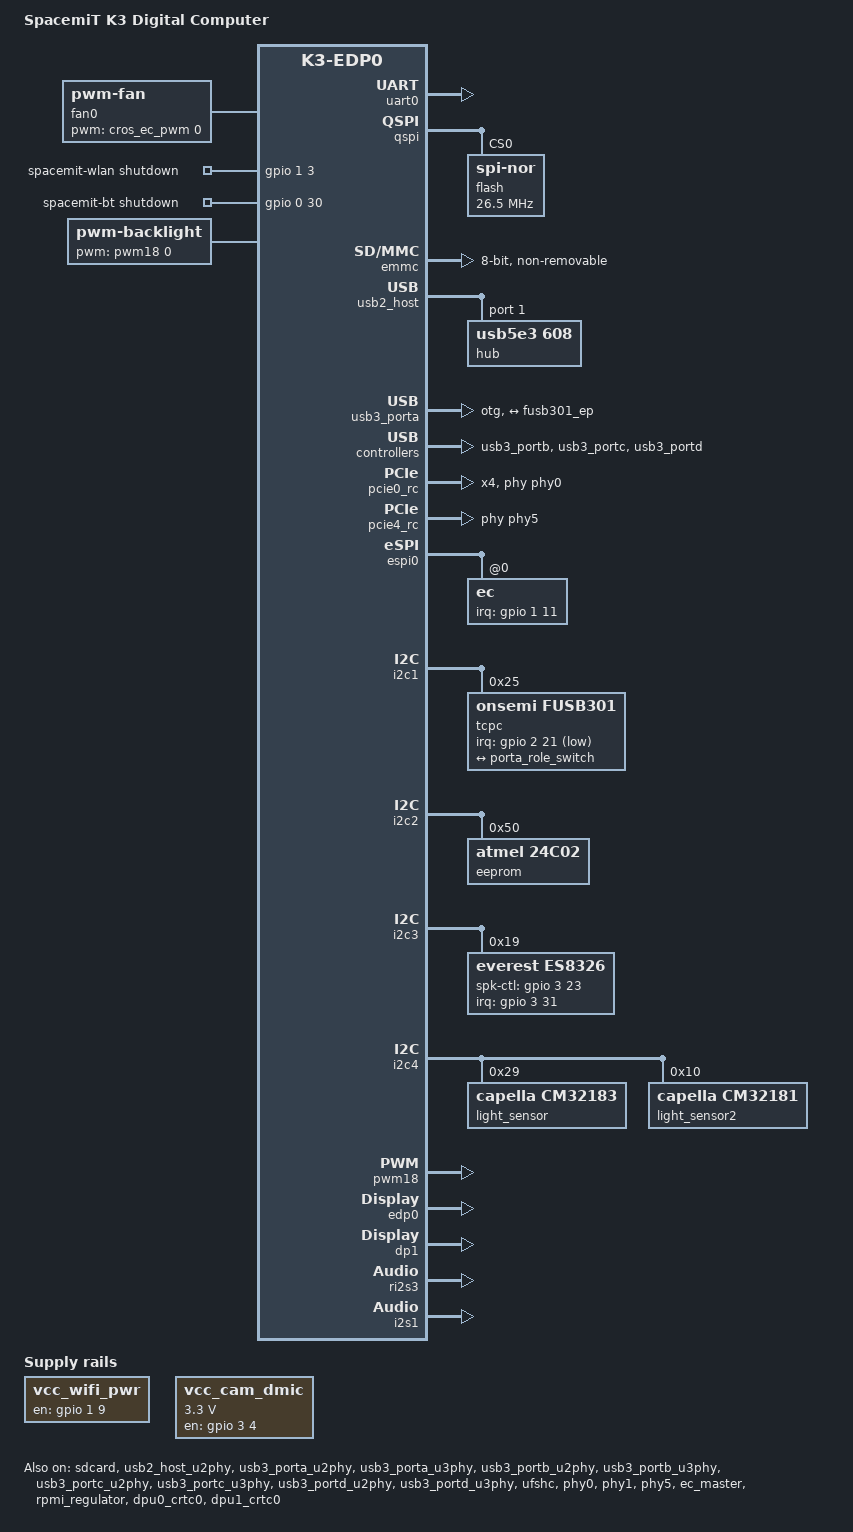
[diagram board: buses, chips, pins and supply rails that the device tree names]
// SPDX-License-Identifier: (GPL-2.0 OR MIT)
/* Copyright (c) 2025 Spacemit, Inc */

#include "k3.dtsi"
#include "k3-rdomain.dtsi"
#include "k3-pinctrl.dtsi"
#include "k3_opp_table.dtsi"
#include "k3-edp0.dtsi"
#include "k3-dp1.dtsi"
#include <dt-bindings/input/input.h>
#include <dt-bindings/input/cros-ec-keyboard.h>

/ {
	model = "SpacemiT K3 Digital Computer";
	compatible = "spacemit,k3-dc-board";
	cpus: cpus {
		#address-cells = <1>;
		#size-cells = <0>;
		timebase-frequency = <24000000>;
	};
/*
	p12v: p12v {
		compatible = "regulator-fixed";
		regulator-name = "p12v";
		regulator-always-on;
		regulator-boot-on;
		regulator-min-microvolt = <12000000>;
		regulator-max-microvolt = <12000000>;
		status = "disabled";
	};

	aux_5v: aux_5v {
		compatible = "regulator-fixed";
		regulator-name = "aux_5v";
		regulator-always-on;
		regulator-boot-on;
		regulator-min-microvolt = <5000000>;
		regulator-max-microvolt = <5000000>;
		vin-supply = <&p12v>;
		status = "disabled";
	};

	aux_3v3: aux_3v3 {
		compatible = "regulator-fixed";
		regulator-name = "aux_3v3";
		regulator-always-on;
		regulator-boot-on;
		regulator-min-microvolt = <3300000>;
		regulator-max-microvolt = <3300000>;
		vin-supply = <&aux_5v>;
		status = "disabled";
	};

	p1v8: p1v8 {
		compatible = "regulator-fixed";
		regulator-name = "p1v8";
		regulator-always-on;
		regulator-boot-on;
		regulator-min-microvolt = <1800000>;
		regulator-max-microvolt = <1800000>;
		vin-supply = <&p12v>;
		status = "disabled";
	};

	p3v3: p3v3 {
		compatible = "regulator-fixed";
		regulator-name = "p3v3";
		regulator-always-on;
		regulator-boot-on;
		regulator-min-microvolt = <3300000>;
		regulator-max-microvolt = <3300000>;
		vin-supply = <&p12v>;
		status = "disabled";
	};
*/
	chosen {
                bootargs = "earlycon=sbi console=ttyS0,115200 loglevel=8 random.trust_bootloader=1";
                rng-seed = <0x25d69b2 0xff555073 0xd23238ea 0x57aa5455 0x792478ed 0xa744f28e 0x6ba4fc54 0xa2bf20fc>;
		stdout-path = "serial0:115200";
	};

	fan0: pwm-fan {
		compatible = "pwm-fan";
		pwms = <&cros_ec_pwm 0>;
		/*
		* Cooling states (0-8) -> PWM duty (0-255)
		* Full speed is treated as ~6000RPM.
		* Custom ramp to balance noise and thermals
		*/
		/* Keep headroom by capping max duty below 255. */
		cooling-levels = <0 30 60 90 120 140 179 204 242>;
		#cooling-cells = <2>;
	};

	vcc_wifi_pwr: vcc-wifi-pwr {
		compatible = "regulator-fixed";
		regulator-name = "vcc_wifi_3v3";
		gpio = <&gpio 1 9 GPIO_ACTIVE_HIGH>;
		enable-active-high;
		regulator-always-on;
		regulator-boot-on;
		pinctrl-names = "default";
		pinctrl-0 = <&rfkill_gpio_cfg>;
	};

	rfkill_wlan: rfkill-wlan {
		compatible = "rfkill-gpio";
		label = "spacemit-wlan";
		radio-type = "wlan";
		shutdown-gpio = <&gpio 1 3 GPIO_ACTIVE_HIGH>;
		dev-pwr-supply = <&vcc_wifi_pwr>;
		status = "okay";
	};

	rfkill_bt: rfkill-bt {
		compatible = "rfkill-gpio";
		label = "spacemit-bt";
		radio-type = "bluetooth";
		shutdown-gpio = <&gpio 0 30 GPIO_ACTIVE_HIGH>;
		status = "okay";
	};

	vcc_cam_dmic: vcc-cam-dmic {
		compatible = "regulator-fixed";
		regulator-name = "vcc_cam_dmic";
		gpio = <&gpio 3 4 GPIO_ACTIVE_HIGH>;
		enable-active-high;

		regulator-always-on;
		regulator-boot-on;

		regulator-min-microvolt = <3300000>;
		regulator-max-microvolt = <3300000>;

		pinctrl-names = "default";
		pinctrl-0 = <&cam_dmic_cfg>;
	};

	backlight: backlight {
		compatible = "pwm-backlight";
		pwms = <&pwm18 0 20000 0>;
		brightness-levels = <
			0   20  20  20  21  21  21  22
			22  22  23  23  23  24  24  24
			25  25  25  26  26  26  27  27
			28  28  29  29  30  30  31  31
			32  33  34  35  36  37  38  39
			40  41  42  43  44  45  46  47
			48  49  50  51  52  53  54  55
			56  57  58  59  60  61  62  63
			64  65  66  67  68  69  70  71
			72  73  74  75  76  77  78  79
			80  81  82  83  84  85  86  87
			88  89  90  91  92  93  94  95
			96  97  98  99 100 101 102 103
			104 105 106 107 108 109 110 111
			112 113 114 115 116 117 118 119
			120 121 122 123 124 125 126 127
			128 129 130 131 132 133 134 135
			136 137 138 139 140 141 142 143
			144 145 146 147 148 149 150 151
			152 153 154 155 156 157 158 159
			160 161 162 163 164 165 166 167
			168 169 170 171 172 173 174 175
			176 177 178 179 180 181 182 183
			184 185 186 187 188 189 190 191
			192 193 194 195 196 197 198 199
			200 201 202 203 204 205 206 207
			208 209 210 211 212 213 214 215
			216 217 218 219 220 221 222 223
			224 225 226 227 228 229 230 231
			232 233 234 235 236 237 238 239
			240 241 242 243 244 245 246 247
			248 249 250 251 252 253 254 255>;
		default-brightness-level = <128>;
		status = "okay";
	};

};

&resmem {
	/* global autoconfigured region for contiguous allocations */
	cmamem: linux,cma {
		compatible = "shared-dma-pool";
		reusable;
		size = <0 0x20000000>;
		alloc-ranges = <1 0x40000000 0 0x20000000>;
		linux,cma-default;
	};

	pcie_dma_pool: pcie-dma-pool@1f0000000 {
		compatible = "restricted-dma-pool";
		reg = <0x1 0xf0000000 0x0 0x02000000>;
	};
};

&pinctrl {
	i2c2-1-cfg {
		i2c2-0-pins {
			power-source = <1800>;
		};
	};

	i2c1-3-cfg {
		i2c1-0-pins {
			power-source = <3300>;
		};
	};

	i2c3-1-cfg {
		i2c3-0-pins {
			power-source = <3300>;
		};
	};

	usb30_drd_dir-0-cfg {
		usb30_drd_dir-pins {
			power-source = <1800>;
		};
	};

	fusb301_cfg: fusb301-cfg {
		fusb301-0-pins {
			pinmux = <K3_PADCONF(85, 0)>;

			bias-pull-up;
			drive-strength = <25>;
			power-source = <1800>;
		};
	};

	qspi-cfg {
		/delete-node/ qspi-1-pins;
		qspi-0-pins {
			power-source = <1800>;
		};
	};

	pcie0-1-cfg {
		pcie0-0-pins {
			pinmux = <K3_PADCONF(79, 5)>,
				 <K3_PADCONF(81, 5)>;

			bias-pull-up;
			drive-strength = <33>;
			power-source = <1800>;
		};
	};

	pcie4-1-cfg {
		pcie4-0-pins {
			bias-pull-up;
			drive-strength = <33>;
			power-source = <1800>;
		};
	};

	sspa1_1_cfg: sspa1-1-cfg {
		sspa1-0-pins {
			power-source = <3300>;
		};
	};

	rfkill_gpio_cfg: rfkill-gpio-cfg {
		rfkill-pins {
			pinmux = <K3_PADCONF(30, 0)>,	/* BT_EN: gpio30 */
				 <K3_PADCONF(35, 0)>,	/* WLAN_W_DISABLE1: gpio35 */
				 <K3_PADCONF(41, 0)>;	/* WLAN_PWREN: gpio41 */
			bias-pull-up;
			drive-strength = <33>;
			power-source = <3300>;
		};
	};

	cam_dmic_cfg: cam-dmic-cfg {
		cam-dmic-pins {
			pinmux = <K3_PADCONF(100, 0)>;	/* gpio[5]_100 */
			bias-pull-up;
			drive-strength = <33>;
			power-source = <3300>;
		};
	};

	dp0_1_cfg: dp0-1-cfg {
		dp0-0-pins {
			pinmux = <K3_PADCONF(23, 6)>;	/* dp0 hpd */

			bias-disable;			/* normal bias disable */
			drive-strength = <25>;		/* DS8 */
			power-source = <3300>;
		};
	};

	dp1_1_cfg: dp1-1-cfg {
		dp1-0-pins {
			pinmux = <K3_PADCONF(24, 6)>;	/* dp1 hpd */

			bias-disable;			/* normal bias disable */
			drive-strength = <25>;		/* DS8 */
			power-source = <3300>;
		};
	};

	pwm18_2_cfg: pwm18-2-cfg {
		pwm18-0-pins {
			pinmux = <K3_PADCONF(106, 6)>;	/* pwm18 */

			bias-pull-up;			/* normal pull-up */
			drive-strength = <25>;		/* DS8 */
			power-source = <3300>;
		};
	};

};

&uart0 {
	pinctrl-names = "default";
	pinctrl-0 = <&uart0_0_cfg>;
	status = "okay";
};

&qspi {
	pinctrl-names = "default";
	pinctrl-0 = <&qspi_cfg>;
	status = "okay";

	flash@0 {
		compatible = "jedec,spi-nor";
		reg = <0>;
		spi-max-frequency = <26500000>;
		m25p,fast-read;
		broken-flash-reset;
		status = "okay";
	};
};

&sdcard {
	pinctrl-names = "default","uhs","debug";
	pinctrl-0 = <&mmc1_cfg>;
	pinctrl-1 = <&mmc1_uhs_cfg>;
	pinctrl-2 = <&mmc1_debug_cfg>;
	bus-width = <4>;
	wp-inverted;
	cd-gpios = <&gpio 2 24 GPIO_ACTIVE_LOW>;
	vmmc-supply = <&p3v3>;
	vqmmc-supply = <&aldo1>;
	no-mmc;
	no-sdio;
	clock-frequency = <204800000>;
	spacemit,tx_delaycode = <0x1f>;
	status = "okay";
};

&emmc {
	bus-width = <8>;
	non-removable;
	mmc-hs400-1_8v;
	mmc-hs400-enhanced-strobe;
	no-sd;
	no-sdio;
	clock-frequency = <375000000>;
	status = "okay";
};

&usb2_host_u2phy {
	status = "okay";
};

&usb2_host {
	#address-cells = <1>;
	#size-cells = <0>;
	status = "okay";

	/* For BT, FG, CAM */
	hub@1 {
		/* FE1.1S USB2.0 hub (4 ports) */
		compatible = "usb5e3,608";
		reg = <1>;
	};
};

&usb3_porta_u2phy {
	status = "okay";
};

&usb3_porta_u3phy {
	/* dual phy selection is auto detect from GPIO86(SS_SW_3V3) */
	pinctrl-names = "default";
	pinctrl-0 = <&usb30_drd_dir_0_cfg>;
	status = "okay";
};

&usb3_porta {
	dr_mode = "otg";
	usb-role-switch;
	role-switch-default-mode = "peripheral";
	monitor-vbus;
	status = "okay";

	ports {
		#address-cells = <1>;
		#size-cells = <0>;
		port@0 {
			reg = <0x0>;
			porta_role_switch: endpoint {
				remote-endpoint = <&fusb301_ep>;
			};
		};
	};
};

&usb3_portb_u2phy {
	status = "okay";
};

&usb3_portb_u3phy {
	status = "okay";
};

&usb3_portb {
	/* TypeC */
	status = "okay";
};

&usb3_portc_u2phy {
	status = "okay";
};

&usb3_portc_u3phy {
	status = "okay";
};

&usb3_portc {
	/* TypeC */
	status = "okay";
};

&usb3_portd_u2phy {
	status = "okay";
};

&usb3_portd_u3phy {
	status = "okay";
};

&usb3_portd {
	/* TypeC */
	status = "okay";
};

&ufshc {
	status = "okay";
};

&phy0 {
	status = "okay";
};

&phy1 {
	status = "okay";
};

&phy2 {
	status = "disabled";
};

&phy3 {
	status = "disabled";
};

&phy5 {
	status = "okay";
};

&pcie0_rc {
	pinctrl-names = "default";
	pinctrl-0 = <&pcie0_1_cfg>;
	phys = <&phy0>, <&phy1>;
	phy-names = "phy0", "phy1";
	num-lanes = <4>;
	status = "okay";
};

&pcie4_rc {
	pinctrl-names = "default";
	pinctrl-0 = <&pcie4_1_cfg>;
	phys = <&phy5>;
	phy-names = "phy0";
	dma-ranges = <0x02000000 0x0 0x80000000 0x1 0xf0000000 0x0 0x02000000>;
	memory-region = <&pcie_dma_pool>;
	status = "okay";
};

&espi0 {
	pinctrl-names = "default";
	pinctrl-0 = <&espi0_2_cfg>;
	status = "okay";
	ec@0 {
		status = "okay";
		interrupt-parent = <&gpio>;
		interrupts = <1 11 IRQ_TYPE_EDGE_RISING>;

		i2c_tunnel1: i2c-tunnel@1 {
			compatible = "google,cros-ec-i2c-tunnel";
			#address-cells = <1>;
			#size-cells = <0>;
			google,remote-bus = <1>;
		};

		i2c_tunnel4: i2c-tunnel@4 {
			compatible = "google,cros-ec-i2c-tunnel";
			#address-cells = <1>;
			#size-cells = <0>;
			google,remote-bus = <4>;

			battery: battery@b {
				compatible = "sbs,sbs-battery";
				reg = <0x0b>;
				sbs,i2c-retry-count = <2>;
				sbs,poll-retry-count = <10>;
				status = "okay";
			};
		};

		/* EC PWM provider for fan control */
		cros_ec_pwm: pwm {
			compatible = "google,cros-ec-pwm";
			#pwm-cells = <1>;
		};

		keyboard {
			compatible = "google,cros-ec-keyb";
			keypad,num-rows = <8>;
			keypad,num-columns = <16>;
			linux,keymap = <
			/* Row 0 */
			MATRIX_KEY(0x00, 0x00, KEY_C)           /* ID: 48 */
			MATRIX_KEY(0x00, 0x01, KEY_DELETE)      /* ID: 76 */
			MATRIX_KEY(0x00, 0x02, KEY_Q)           /* ID: 17 */
			MATRIX_KEY(0x00, 0x03, KEY_RIGHTALT)    /* ID: 62 */
			MATRIX_KEY(0x00, 0x05, KEY_X)           /* ID: 47 */
			MATRIX_KEY(0x00, 0x06, KEY_V)           /* ID: 49 */
			MATRIX_KEY(0x00, 0x07, KEY_M)           /* ID: 52 */
			MATRIX_KEY(0x00, 0x08, KEY_DOT)         /* ID: 54 */
			MATRIX_KEY(0x00, 0x09, KEY_RIGHTSHIFT)  /* ID: 57 */
			MATRIX_KEY(0x00, 0x0a, KEY_COMMA)       /* ID: 53 */
			MATRIX_KEY(0x00, 0x0c, KEY_RIGHTCTRL)   /* ID: 64 */
			MATRIX_KEY(0x00, 0x0d, KEY_SLASH)       /* ID: 55 */
			MATRIX_KEY(0x00, 0x0e, KEY_APOSTROPHE)  /* ID: 41 (' ) */

			/* Row 1 */
			MATRIX_KEY(0x01, 0x03, KEY_LEFTALT)     /* ID: 60 */
			MATRIX_KEY(0x01, 0x04, KEY_SPACE)       /* ID: 61 */
			MATRIX_KEY(0x01, 0x05, KEY_Z)           /* ID: 46 */
			MATRIX_KEY(0x01, 0x06, KEY_B)           /* ID: 50 */
			MATRIX_KEY(0x01, 0x07, KEY_N)           /* ID: 51 */
			MATRIX_KEY(0x01, 0x08, KEY_DOWN)        /* ID: 84-1 */
			MATRIX_KEY(0x01, 0x09, KEY_LEFTSHIFT)   /* ID: 44 */
			MATRIX_KEY(0x01, 0x0c, KEY_LEFTCTRL)    /* ID: 58 */
			MATRIX_KEY(0x01, 0x0d, KEY_UP)          /* ID: 83-1 */
			MATRIX_KEY(0x01, 0x0e, KEY_ENTER)       /* ID: 43 */
			MATRIX_KEY(0x01, 0x0f, KEY_F8)          /* ID: 119 */

			/* Row 2 */
			MATRIX_KEY(0x02, 0x02, KEY_FN)          /* ID: 59 */
			MATRIX_KEY(0x02, 0x04, KEY_E)           /* ID: 19 */
			MATRIX_KEY(0x02, 0x05, KEY_F2)          /* ID: 113 */
			MATRIX_KEY(0x02, 0x06, KEY_G)           /* ID: 35 */
			MATRIX_KEY(0x02, 0x07, KEY_H)           /* ID: 36 */
			MATRIX_KEY(0x02, 0x08, KEY_BACKSLASH)   /* ID: 29/42 */
			MATRIX_KEY(0x02, 0x0a, KEY_F7)          /* ID: 118 */
			MATRIX_KEY(0x02, 0x0d, KEY_MINUS)       /* ID: 12 */
			MATRIX_KEY(0x02, 0x0f, KEY_RIGHT)       /* ID: 89-1 */

			/* Row 3 */
			MATRIX_KEY(0x03, 0x01, KEY_LEFTMETA)    /* ID: 127 (Win) */
			MATRIX_KEY(0x03, 0x02, KEY_TAB)         /* ID: 16 */
			MATRIX_KEY(0x03, 0x04, KEY_F4)          /* ID: 115 */
			MATRIX_KEY(0x03, 0x05, KEY_F1)          /* ID: 112 */
			MATRIX_KEY(0x03, 0x06, KEY_T)           /* ID: 21 */
			MATRIX_KEY(0x03, 0x07, KEY_Y)           /* ID: 22 */
			MATRIX_KEY(0x03, 0x08, KEY_O)           /* ID: 25 */
			MATRIX_KEY(0x03, 0x0a, KEY_F6)          /* ID: 117 */
			MATRIX_KEY(0x03, 0x0b, KEY_F9)          /* ID: 120 */
			MATRIX_KEY(0x03, 0x0d, KEY_F12)         /* ID: 123 */

			/* Row 4 */
			MATRIX_KEY(0x04, 0x02, KEY_GRAVE)       /* ID: 1 (~) */
			MATRIX_KEY(0x04, 0x04, KEY_CAPSLOCK)    /* ID: 30 */
			MATRIX_KEY(0x04, 0x05, KEY_S)           /* ID: 32 */
			MATRIX_KEY(0x04, 0x06, KEY_5)           /* ID: 6 */
			MATRIX_KEY(0x04, 0x07, KEY_6)           /* ID: 7 */
			MATRIX_KEY(0x04, 0x08, KEY_F10)         /* ID: 121 */
			MATRIX_KEY(0x04, 0x0a, KEY_F5)          /* ID: 116 */
			MATRIX_KEY(0x04, 0x0d, KEY_0)           /* ID: 11 */
			MATRIX_KEY(0x04, 0x0e, KEY_EQUAL)       /* ID: 13 */

			/* Row 5 */
			MATRIX_KEY(0x05, 0x02, KEY_1)           /* ID: 2 */
			MATRIX_KEY(0x05, 0x04, KEY_3)           /* ID: 4 */
			MATRIX_KEY(0x05, 0x05, KEY_2)           /* ID: 3 */
			MATRIX_KEY(0x05, 0x06, KEY_4)           /* ID: 5 */
			MATRIX_KEY(0x05, 0x07, KEY_7)           /* ID: 8 */
			MATRIX_KEY(0x05, 0x08, KEY_9)           /* ID: 10 */
			MATRIX_KEY(0x05, 0x0a, KEY_8)           /* ID: 9 */
			MATRIX_KEY(0x05, 0x0d, KEY_P)           /* ID: 26 */
			MATRIX_KEY(0x05, 0x0e, KEY_BACKSPACE)   /* ID: 15 */

			/* Row 6 */
			MATRIX_KEY(0x06, 0x04, KEY_F3)          /* ID: 114 */
			MATRIX_KEY(0x06, 0x05, KEY_W)           /* ID: 18 */
			MATRIX_KEY(0x06, 0x06, KEY_R)           /* ID: 20 */
			MATRIX_KEY(0x06, 0x07, KEY_U)           /* ID: 23 */
			MATRIX_KEY(0x06, 0x08, KEY_F11)         /* ID: 122 */
			MATRIX_KEY(0x06, 0x0a, KEY_I)           /* ID: 24 */
			MATRIX_KEY(0x06, 0x0b, KEY_LEFT)        /* ID: 79-1 */
			MATRIX_KEY(0x06, 0x0d, KEY_LEFTBRACE)   /* ID: 27 ([) */
			MATRIX_KEY(0x06, 0x0e, KEY_RIGHTBRACE)  /* ID: 28 (]) */

			/* Row 7 */
			MATRIX_KEY(0x07, 0x02, KEY_A)           /* ID: 31 */
			MATRIX_KEY(0x07, 0x05, KEY_ESC)         /* ID: 110 */
			MATRIX_KEY(0x07, 0x06, KEY_F)           /* ID: 34 */
			MATRIX_KEY(0x07, 0x07, KEY_J)           /* ID: 37 */
			MATRIX_KEY(0x07, 0x08, KEY_L)           /* ID: 39 */
			MATRIX_KEY(0x07, 0x0a, KEY_K)           /* ID: 38 */
			MATRIX_KEY(0x07, 0x0d, KEY_SEMICOLON)   /* ID: 40 */
			MATRIX_KEY(0x07, 0x0e, KEY_D)           /* ID: 33 */

			/*
			 * Fn layer (row + 8):
			 *  F1..F12 -> media/system keys when Fn is held.
			 */
			MATRIX_KEY(0x09, 0x0f, KEY_KBDILLUMUP)    /* Fn+F8  */
			MATRIX_KEY(0x0a, 0x05, KEY_VOLUMEDOWN)    /* Fn+F2  */
			MATRIX_KEY(0x0a, 0x0a, KEY_KBDILLUMDOWN)  /* Fn+F7  */
			MATRIX_KEY(0x0b, 0x04, KEY_PREVIOUSSONG)  /* Fn+F4  */
			MATRIX_KEY(0x0b, 0x05, KEY_MUTE)          /* Fn+F1  */
			MATRIX_KEY(0x0b, 0x0a, KEY_PLAYPAUSE)     /* Fn+F6  */
			MATRIX_KEY(0x0b, 0x0b, KEY_DISPLAYTOGGLE) /* Fn+F9  */
			MATRIX_KEY(0x0b, 0x0d, KEY_MICMUTE)       /* Fn+F12 */
			MATRIX_KEY(0x0c, 0x08, KEY_RFKILL)        /* Fn+F10 */
			MATRIX_KEY(0x0c, 0x0a, KEY_NEXTSONG)      /* Fn+F5  */
			MATRIX_KEY(0x0e, 0x04, KEY_VOLUMEUP)      /* Fn+F3  */
			MATRIX_KEY(0x0e, 0x08, KEY_SYSRQ)         /* Fn+F11 */
			>;
		};
	};
};

&ec_master {
	status = "okay";
};

&thermal_zones {
	thermal_top {
		polling-delay = <1000>;
		polling-delay-passive = <500>;
		thermal-sensors = <&thermal 0>;

		trips {
			thermal_top_trip0: thermal_top-trip0 {
				temperature = <45000>;
				hysteresis = <2000>;
				type = "active";
			};
		};
	};

	thermal_vpu {
		polling-delay = <1000>;
		polling-delay-passive = <500>;
		thermal-sensors = <&thermal 2>;

		trips {
			thermal_vpu_trip0: thermal_vpu-trip0 {
				temperature = <60000>;
				hysteresis = <2000>;
				type = "active";
			};
		};
	};

	thermal_gpu {
		polling-delay = <1000>;
		polling-delay-passive = <500>;
		thermal-sensors = <&thermal 3>;

		trips {
			thermal_gpu_trip0: thermal_gpu-trip0 {
				temperature = <60000>;
				hysteresis = <2000>;
				type = "active";
			};
		};
	};

	thermal_cluster0 {
		polling-delay = <1000>;
		polling-delay-passive = <500>;
		thermal-sensors = <&thermal 4>;

		trips {
			thermal_cluster0_trip0: thermal_cluster0-trip0 {
				temperature = <45000>;
				hysteresis = <2000>;
				type = "active";
			};

			thermal_cluster0_trip1: thermal_cluster0-trip1 {
				temperature = <55000>;
				hysteresis = <2000>;
				type = "passive";
			};

			thermal_cluster0_trip2: thermal_cluster0-trip2 {
				temperature = <65000>;
				hysteresis = <2000>;
				type = "passive";
			};

			thermal_cluster0_trip3: thermal_cluster0-trip3 {
				temperature = <75000>;
				hysteresis = <2000>;
				type = "passive";
			};

			thermal_cluster0_trip4: thermal_cluster0-trip4 {
				temperature = <85000>;
				hysteresis = <2000>;
				type = "passive";
			};

			thermal_cluster0_trip5: thermal_cluster0-trip5 {
				temperature = <90000>;
				hysteresis = <2000>;
				type = "passive";
			};

			thermal_cluster0_trip6: thermal_cluster0-trip6 {
				temperature = <95000>;
				hysteresis = <2000>;
				type = "passive";
			};
		};

		cooling-maps {
			map0 {
				trip = <&thermal_cluster0_trip0>;
				cooling-device = <&fan0 0 1>;
			};

			map1 {
				trip = <&thermal_cluster0_trip1>;
				cooling-device = <&fan0 2 3>;
			};

			map2 {
				trip = <&thermal_cluster0_trip2>;
				cooling-device = <&fan0 3 4>;
			};

			map3 {
				trip = <&thermal_cluster0_trip3>;
				cooling-device = <&fan0 4 5>;
			};

			map4 {
				trip = <&thermal_cluster0_trip4>;
				cooling-device = <&fan0 6 6>;
			};

			map5 {
				trip = <&thermal_cluster0_trip5>;
				cooling-device = <&fan0 7 7>;
			};

			map6 {
				trip = <&thermal_cluster0_trip6>;
				cooling-device = <&fan0 8 8>;
			};
		};
	};

	thermal_cluster1 {
		polling-delay = <1000>;
		polling-delay-passive = <250>;
		thermal-sensors = <&thermal 5>;

		trips {
			thermal_cluster1_trip0: thermal_cluster1-trip0 {
				temperature = <85000>;
				hysteresis = <2000>;
				type = "active";
			};

			thermal_cluster1_trip1: thermal_cluster1-trip1 {
				temperature = <95000>;
				hysteresis = <2000>;
				type = "passive";
			};

			thermal_cluster1_trip2: thermal_cluster1-trip2 {
				temperature = <105000>;
				hysteresis = <2000>;
				type = "passive";
			};

			thermal_cluster1_trip3: thermal_cluster1-trip3 {
				temperature = <115000>;
				hysteresis = <2000>;
				type = "critical";
			};
		};

		cooling-maps {
			map0 {
				trip = <&thermal_cluster1_trip0>;
				cooling-device = <&cpu_0 2 2>,
						<&cpu_1 2 2>,
						<&cpu_2 2 2>,
						<&cpu_3 2 2>,
						<&cpu_4 2 2>,
						<&cpu_5 2 2>,
						<&cpu_6 2 2>,
						<&cpu_7 2 2>;
			};

			map1 {
				trip = <&thermal_cluster1_trip1>;
				cooling-device = <&cpu_0 3 5>,
						<&cpu_1 3 5>,
						<&cpu_2 3 5>,
						<&cpu_3 3 5>,
						<&cpu_4 3 5>,
						<&cpu_5 3 5>,
						<&cpu_6 3 5>,
						<&cpu_7 3 5>;
			};

			map2 {
				trip = <&thermal_cluster1_trip2>;
				cooling-device = <&cpu_0 6 8>,
						<&cpu_1 6 8>,
						<&cpu_2 6 8>,
						<&cpu_3 6 8>,
						<&cpu_4 6 8>,
						<&cpu_5 6 8>,
						<&cpu_6 6 8>,
						<&cpu_7 6 8>;
			};
		};
	};

	thermal_cluster2 {
		polling-delay = <1000>;
		polling-delay-passive = <250>;
		thermal-sensors = <&thermal 6>;

		trips {
			thermal_cluster2_trip0: thermal_cluster2-trip0 {
				temperature = <85000>;
				hysteresis = <2000>;
				type = "active";
			};

			thermal_cluster2_trip1: thermal_cluster2-trip1 {
				temperature = <95000>;
				hysteresis = <2000>;
				type = "passive";
			};

			thermal_cluster2_trip2: thermal_cluster2-trip2 {
				temperature = <105000>;
				hysteresis = <2000>;
				type = "passive";
			};

			thermal_cluster2_trip3: thermal_cluster2-trip3 {
				temperature = <115000>;
				hysteresis = <2000>;
				type = "critical";
			};
		};

		cooling-maps {
			map0 {
				trip = <&thermal_cluster2_trip0>;
				cooling-device = <&cpu_8 3 3>,
						<&cpu_9 3 3>,
						<&cpu_10 3 3>,
						<&cpu_11 3 3>,
						<&cpu_12 3 3>,
						<&cpu_13 3 3>,
						<&cpu_14 3 3>,
						<&cpu_15 3 3>;
			};

			map1 {
				trip = <&thermal_cluster2_trip1>;
				cooling-device = <&cpu_8 4 5>,
						<&cpu_9 4 5>,
						<&cpu_10 4 5>,
						<&cpu_11 4 5>,
						<&cpu_12 4 5>,
						<&cpu_13 4 5>,
						<&cpu_14 4 5>,
						<&cpu_15 4 5>;
			};

			map2 {
				trip = <&thermal_cluster2_trip2>;
				cooling-device = <&cpu_8 6 8>,
						<&cpu_9 6 8>,
						<&cpu_10 6 8>,
						<&cpu_11 6 8>,
						<&cpu_12 6 8>,
						<&cpu_13 6 8>,
						<&cpu_14 6 8>,
						<&cpu_15 6 8>;
			};
		};
	};

	thermal_cluster3 {
		polling-delay = <1000>;
		polling-delay-passive = <250>;
		thermal-sensors = <&thermal 7>;

		trips {
			thermal_cluster7_trip0: thermal_cluster7-trip0 {
				temperature = <40000>;
				hysteresis = <5000>;
				type = "passive";
			};
		};
	};
};

&rpmi_regulator {
	status = "okay";
	pinctrl-names = "default";
	pinctrl-0 = <&i2c8_cfg_rcpu>;

	pvin: pvin {
		regulator-min-microvolt = <5000000>;
		regulator-max-microvolt = <5000000>;
		regulator-always-on;
		regulator-boot-on;
	};

	edcdc2: edcdc2 {
		regulator-min-microvolt = <800000>;
		regulator-max-microvolt = <800000>;
		regulator-always-on;
		regulator-boot-on;
	};

	edcdc1: edcdc1 {
		regulator-min-microvolt = <534000>;
		regulator-max-microvolt = <1000000>;
		regulator-always-on;
		regulator-boot-on;
	};

	p3v3: p3v3 {
		regulator-min-microvolt = <3300000>;
		regulator-max-microvolt = <3300000>;
		regulator-always-on;
		regulator-boot-on;
	};

	p1v8: p1v8 {
		regulator-min-microvolt = <1800000>;
		regulator-max-microvolt = <1800000>;
		regulator-always-on;
		regulator-boot-on;
	};

	dcdc1: dcdc1 {
		regulator-min-microvolt = <1050000>;
		regulator-max-microvolt = <1050000>;
		regulator-always-on;
		regulator-boot-on;
	};

	dcdc3: dcdc3 {
		regulator-min-microvolt = <800000>;
		regulator-max-microvolt = <800000>;
		regulator-always-on;
		regulator-boot-on;
	};

	dcdc4: dcdc4 {
		regulator-min-microvolt = <2100000>;
		regulator-max-microvolt = <2100000>;
		regulator-always-on;
		regulator-boot-on;
	};

	dcdc5: dcdc5 {
		regulator-min-microvolt = <1800000>;
		regulator-max-microvolt = <1800000>;
		regulator-always-on;
		regulator-boot-on;
	};

	dcdc6: dcdc6 {
		regulator-min-microvolt = <500000>;
		regulator-max-microvolt = <600000>;
		regulator-always-on;
		regulator-boot-on;
	};

	aldo1: aldo1 {
		regulator-min-microvolt = <1800000>;
		regulator-max-microvolt = <3300000>;
		regulator-always-on;
		regulator-boot-on;
	};

	aldo2: aldo2 {
		regulator-min-microvolt = <1800000>;
		regulator-max-microvolt = <1800000>;
		regulator-always-on;
		regulator-boot-on;
	};

	aldo3: aldo3 {
		regulator-min-microvolt = <500000>;
		regulator-max-microvolt = <3400000>;
	};

	aldo4: aldo4 {
		regulator-min-microvolt = <3300000>;
		regulator-max-microvolt = <3300000>;
		regulator-always-on;
		regulator-boot-on;
	};

	dldo1: dldo1 {
		regulator-min-microvolt = <1200000>;
		regulator-max-microvolt = <1200000>;
		regulator-always-on;
		regulator-boot-on;
	};

	dldo2: dldo2 {
		regulator-min-microvolt = <900000>;
		regulator-max-microvolt = <900000>;
		regulator-always-on;
		regulator-boot-on;
	};

	dldo3: dldo3 {
		regulator-min-microvolt = <800000>;
		regulator-max-microvolt = <800000>;
		regulator-always-on;
		regulator-boot-on;
	};

	dldo4: dldo4 {
		regulator-min-microvolt = <1800000>;
		regulator-max-microvolt = <1800000>;
		regulator-always-on;
		regulator-boot-on;
	};

	dldo5: dldo5 {
		regulator-min-microvolt = <1800000>;
		regulator-max-microvolt = <1800000>;
		regulator-always-on;
		regulator-boot-on;
	};

	dldo6: dldo6 {
		regulator-min-microvolt = <1800000>;
		regulator-max-microvolt = <1800000>;
		regulator-always-on;
		regulator-boot-on;
	};

	dldo7: dldo7 {
		regulator-min-microvolt = <1800000>;
		regulator-max-microvolt = <1800000>;
		regulator-always-on;
		regulator-boot-on;
	};

	pwr_x100: pwr_x100 {
		regulator-min-microvolt = <3300000>;
		regulator-max-microvolt = <3300000>;
		regulator-always-on;
		regulator-boot-on;
	};

	pwr_a100: pwr_a100 {
		regulator-min-microvolt = <3300000>;
		regulator-max-microvolt = <3300000>;
		regulator-always-on;
		regulator-boot-on;
	};

	pwr_ext: pwr_ext {
		regulator-min-microvolt = <3300000>;
		regulator-max-microvolt = <3300000>;
		regulator-always-on;
		regulator-boot-on;
	};
};

&i2c1 {
	pinctrl-names = "default";
	pinctrl-0 = <&i2c1_3_cfg>;
	status = "okay";

	tcpc@25 {
		compatible = "onsemi,fusb301";
		reg = <0x25>;
		pinctrl-names = "default";
		pinctrl-0 = <&fusb301_cfg>;
		irq-gpios = <&gpio 2 21 GPIO_ACTIVE_LOW>;
		wakeup-source;
		status = "okay";

		typec_0: connector@0 {
			compatible = "usb-c-connector";
			label = "USB-C";
			data-role = "dual";
			power-role = "dual";
			try-power-role = "sink";
			typec-power-opmode = "default";
			pd-disable;

			ports {
				#address-cells = <0x1>;
				#size-cells = <0x0>;

				port@0 {
					reg = <0x0>;
					fusb301_ep: endpoint {
						remote-endpoint = <&porta_role_switch>;
					};
				};
			};
		};
	};
};

&i2c2 {
	pinctrl-names = "default";
	pinctrl-0 = <&i2c2_1_cfg>;
	status = "okay";

	eeprom@50 {
		compatible = "atmel,24c02";
		reg = <0x50>;
		read-only;
		status = "okay";

		nvmem-layout {
			compatible = "onie,tlv-layout";

			product_name: product-name {
			};
		};
	};
};

&i2c3 {
	pinctrl-names = "default";
	pinctrl-0 = <&i2c3_1_cfg>;
	status = "okay";

	es8326: es8326@19{
		compatible = "everest,es8326";
		reg = <0x19>;
		#sound-dai-cells = <0>;
		interrupt-parent = <&gpio>;
		interrupts = <3 31 IRQ_TYPE_EDGE_RISING>;
		spk-ctl-gpio = <&gpio 3 23 0>;
		everest,mic1-src = [44];
		everest,mic2-src = [66];
		everest,jack-detect-inverted;
		status = "okay";
	};
};

&i2c4 {
	pinctrl-names = "default";
	pinctrl-0 = <&i2c4_2_cfg>;
	status = "okay";

	touchpad: hid@2c {
		compatible = "hid-over-i2c";
		reg = <0x2c>;
		hid-descr-addr = <0x0020>;
		post-power-on-delay-ms = <200>;
		pinctrl-names = "default";
		pinctrl-0 = <&touchpad_int_cfg>;
		interrupt-parent = <&gpio>;
		interrupts = <0 26 IRQ_TYPE_EDGE_FALLING>;
		status = "okay";
	};

	light_sensor: cm32183@29 {
		compatible = "capella,cm32183";
		reg = <0x29>;
		status = "okay";
	};

        light_sensor2: cm32181@10 {
		compatible = "capella,cm32181";
		reg = <0x10>;
		status = "okay";
	};

};

/*
&i2c8 {
	pinctrl-names = "default";
	pinctrl-0 = <&i2c8_cfg>;
	status = "disabled";

	p1@41 {
		compatible = "spacemit,p1";
		reg = <0x41>;
		status = "disabled";

		vcc-supply = <&aux_5v>;

		regulators {
			compatible = "spacemit-p1-regulator";

			buck1: buck1 {
				regulator-min-microvolt = <1050000>;
				regulator-max-microvolt = <1050000>;
				regulator-ramp-delay = <5000>;
				regulator-always-on;
				regulator-boot-on;
			};

			buck2: buck2 {
				regulator-min-microvolt = <1050000>;
				regulator-max-microvolt = <1050000>;
				regulator-ramp-delay = <5000>;
				regulator-always-on;
				regulator-boot-on;
			};

			buck3: buck3 {
				regulator-min-microvolt = <800000>;
				regulator-max-microvolt = <800000>;
				regulator-ramp-delay = <5000>;
				regulator-always-on;
				regulator-boot-on;
			};

			buck4: buck4 {
				regulator-min-microvolt = <2100000>;
				regulator-max-microvolt = <2100000>;
				regulator-ramp-delay = <5000>;
				regulator-always-on;
				regulator-boot-on;
			};

			buck5: buck5 {
				regulator-min-microvolt = <1800000>;
				regulator-max-microvolt = <1800000>;
				regulator-ramp-delay = <5000>;
				regulator-always-on;
				regulator-boot-on;
			};

			buck6: buck6 {
				regulator-min-microvolt = <500000>;
				regulator-max-microvolt = <500000>;
				regulator-ramp-delay = <5000>;
				regulator-always-on;
				regulator-boot-on;
			};

			aldo1: aldo1 {
				regulator-min-microvolt = <1800000>;
				regulator-max-microvolt = <3300000>;
				regulator-always-on;
				regulator-boot-on;
			};

			aldo2: aldo2 {
				regulator-min-microvolt = <1800000>;
				regulator-max-microvolt = <1800000>;
				regulator-always-on;
				regulator-boot-on;
			};

			aldo3: aldo3 {
				regulator-min-microvolt = <500000>;
				regulator-max-microvolt = <3400000>;
			};

			aldo4: aldo4 {
				regulator-min-microvolt = <3300000>;
				regulator-max-microvolt = <3300000>;
				regulator-always-on;
				regulator-boot-on;
			};

			dldo1: dldo1 {
				regulator-min-microvolt = <1200000>;
				regulator-max-microvolt = <1200000>;
				regulator-always-on;
				regulator-boot-on;
			};

			dldo2: dldo2 {
				regulator-min-microvolt = <900000>;
				regulator-max-microvolt = <900000>;
				regulator-always-on;
				regulator-boot-on;
			};

			dldo3: dldo3 {
				regulator-min-microvolt = <800000>;
				regulator-max-microvolt = <800000>;
				regulator-always-on;
				regulator-boot-on;
			};

			dldo4: dldo4 {
				regulator-min-microvolt = <1800000>;
				regulator-max-microvolt = <1800000>;
				regulator-boot-on;
			};

			dldo5: dldo5 {
				regulator-min-microvolt = <1800000>;
				regulator-max-microvolt = <1800000>;
				regulator-always-on;
				regulator-boot-on;
			};

			dldo6: dldo6 {
				regulator-min-microvolt = <1800000>;
				regulator-max-microvolt = <1800000>;
				regulator-always-on;
				regulator-boot-on;
			};

			dldo7: dldo7 {
				regulator-min-microvolt = <1800000>;
				regulator-max-microvolt = <1800000>;
				regulator-always-on;
				regulator-boot-on;
			};
		};
	};
};
*/

&pwm18 {
	pinctrl-names = "default";
	pinctrl-0 = <&pwm18_2_cfg>;
	status = "okay";
};

&dpu0_crtc0 {
	memory-region = <&dpu_resv0>;
	status = "okay";
};

&edp0 {
	pinctrl-names = "default";
	pinctrl-0 = <&dp0_1_cfg>;
	backlight = <&backlight>;
	gpios-power = <101>;
	gpios-enable = <118>;
	status = "okay";
};

&dpu1_crtc0 {
	memory-region = <&dpu_resv1>;
	status = "okay";
};

&dp1 {
	pinctrl-names = "default";
	pinctrl-0 = <&dp1_1_cfg>;
	status = "okay";
};

&adma3 {
	status = "okay";
};

&ri2s3 {
	status = "okay";
};

&sound_card_dp1 {
	status = "okay";
	simple-audio-card,name = "snd-dp1";
	simple-audio-card,mclk-fs = <512>;
	simple-audio-card,dai-link@0 {
		format = "left_j";
		frame-master = <&dp1_link_cpu>;
		bitclock-master = <&dp1_link_cpu>;
		dp1_link_codec: codec {
			playback-only;
			sound-dai = <&dp1>;
		};
	};
};

&i2s1 {
	status = "okay";
	pinctrl-0 = <&sspa1_1_cfg>;
	pinctrl-names = "default";
};

&sound_card1 {
	status = "okay";
	simple-audio-card,mclk-fs = <256>;
	simple-audio-card,dai-link@0 {
		format = "i2s";
		frame-master = <&link1_cpu>;
		bitclock-master = <&link1_cpu>;

		link1_cpu: cpu {
			sound-dai = <&i2s1>;
		};

		link1_codec: codec {
			sound-dai = <&es8326>;
		};
	};
};
